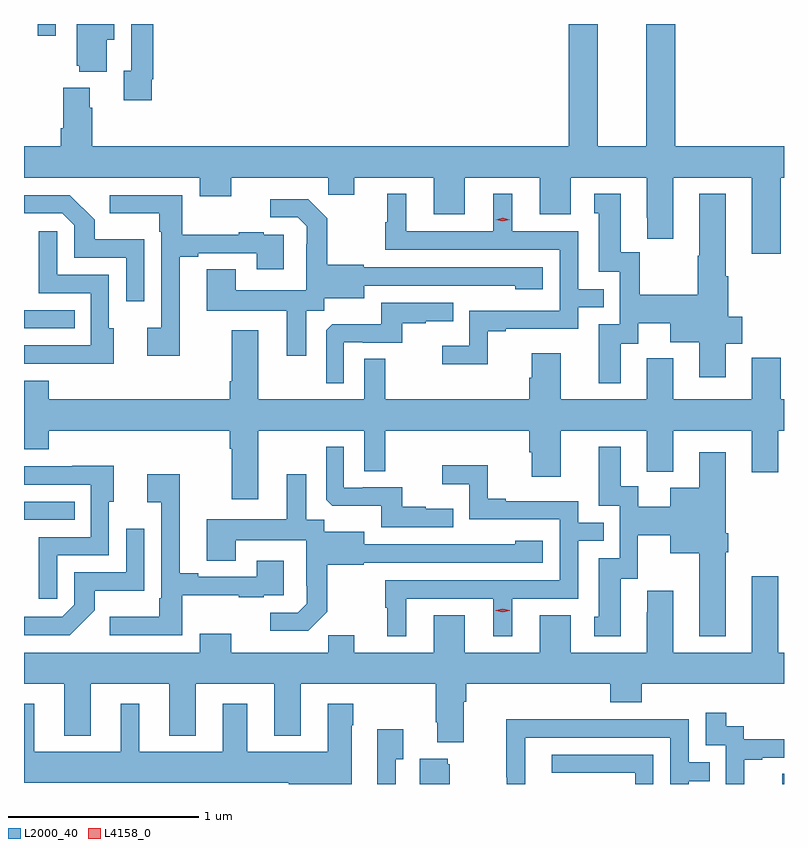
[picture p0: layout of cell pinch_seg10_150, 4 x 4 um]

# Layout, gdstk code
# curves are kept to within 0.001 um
import gdstk
lib = gdstk.Library(unit=1e-6, precision=1e-09)
def R(c, l, rs):  # rectangles x0, y0, x1, y1
    for r in rs: c.add(gdstk.rectangle(r[:2], r[2:], *l))
def P(c, l, *ps):  # polygons
    for p in ps: c.add(gdstk.Polygon(p, *l))
L2000_40 = (2000, 40)
L4158_0 = (4158, 0)

pinch_seg10_150 = lib.new_cell('pinch_seg10_150')
R(pinch_seg10_150, L2000_40, [(764.223,1283.804,764.233,1283.857), (760.233,1285.194,760.499,1285.29), (760.233,1286.202,760.499,1286.298), (760.305,1287.741,760.401,1287.804)])
P(pinch_seg10_150, L2000_40, [(764.216,1286.996),(764.233,1286.996),(764.233,1287.16),(763.661,1287.16),(763.661,1287.804),(763.508,1287.804),(763.508,1287.16),(763.252,1287.16),(763.252,1287.804),(763.1,1287.804),(763.1,1287.16),(760.592,1287.16),(760.592,1287.362),(760.579,1287.362),(760.579,1287.469),(760.439,1287.469),(760.439,1287.256),(760.427,1287.256),(760.427,1287.16),(760.233,1287.16),(760.233,1286.996),(761.159,1286.996),(761.159,1286.897),(761.323,1286.897),(761.323,1286.996),(761.833,1286.996),(761.833,1286.906),(761.971,1286.906),(761.971,1286.996),(762.389,1286.996),(762.389,1286.802),(762.553,1286.802),(762.553,1286.996),(762.947,1286.996),(762.947,1286.802),(763.111,1286.802),(763.111,1286.996),(763.511,1286.996),(763.511,1286.785),(763.514,1286.785),(763.514,1286.673),(763.651,1286.673),(763.651,1286.996),(764.063,1286.996),(764.063,1286.595),(764.216,1286.595)],
  [(760.906,1287.514),(760.913,1287.514),(760.913,1287.804),(760.797,1287.804),(760.797,1287.558),(760.757,1287.558),(760.757,1287.402),(760.906,1287.402)],
  [(760.669,1287.722),(760.708,1287.722),(760.708,1287.804),(760.511,1287.804),(760.511,1287.585),(760.523,1287.585),(760.523,1287.554),(760.669,1287.554)],
  [(763.375,1286.122),(763.465,1286.122),(763.465,1286.228),(763.634,1286.228),(763.634,1286.129),(763.787,1286.129),(763.787,1285.944),(763.927,1285.944),(763.927,1286.122),(764.014,1286.122),(764.014,1286.264),(763.94,1286.264),(763.94,1286.476),(763.927,1286.476),(763.927,1286.911),(763.787,1286.911),(763.787,1286.585),(763.78,1286.585),(763.78,1286.38),(763.473,1286.38),(763.473,1286.603),(763.375,1286.603),(763.375,1286.911),(763.235,1286.911),(763.235,1286.808),(763.259,1286.808),(763.259,1286.499),(763.368,1286.499),(763.368,1286.223),(763.259,1286.223),(763.259,1285.914),(763.375,1285.914)],
  [(762.675,1286.187),(762.769,1286.187),(762.769,1286.199),(763.149,1286.199),(763.149,1286.313),(763.283,1286.313),(763.283,1286.409),(763.149,1286.409),(763.149,1286.712),(762.802,1286.712),(762.802,1286.911),(762.704,1286.911),(762.704,1286.712),(762.244,1286.712),(762.244,1286.911),(762.146,1286.911),(762.146,1286.76),(762.135,1286.76),(762.135,1286.616),(763.053,1286.616),(763.053,1286.295),(762.576,1286.295),(762.576,1286.11),(762.435,1286.11),(762.435,1286.012),(762.675,1286.012)],
  [(761.053,1286.58),(761.149,1286.58),(761.149,1286.598),(761.459,1286.598),(761.459,1286.514),(761.599,1286.514),(761.599,1286.694),(761.495,1286.694),(761.495,1286.707),(761.363,1286.707),(761.363,1286.696),(761.065,1286.696),(761.065,1286.904),(760.683,1286.904),(760.683,1286.807),(760.944,1286.807),(760.944,1286.711),(760.956,1286.711),(760.956,1286.206),(760.881,1286.206),(760.881,1286.058),(761.053,1286.058)],
  [(760.866,1286.671),(760.605,1286.671),(760.605,1286.774),(760.474,1286.904),(760.233,1286.904),(760.233,1286.808),(760.434,1286.808),(760.497,1286.745),(760.497,1286.574),(760.77,1286.574),(760.77,1286.346),(760.866,1286.346)],
  [(761.719,1286.296),(761.814,1286.296),(761.814,1286.36),(762.025,1286.36),(762.025,1286.427),(762.819,1286.426),(762.819,1286.408),(762.964,1286.408),(762.964,1286.523),(762.021,1286.523),(762.021,1286.536),(761.829,1286.536),(761.829,1286.781),(761.729,1286.881),(761.529,1286.881),(761.529,1286.787),(761.673,1286.787),(761.72,1286.74),(761.72,1286.645),(761.718,1286.645),(761.718,1286.404),(761.347,1286.404),(761.347,1286.513),(761.195,1286.513),(761.195,1286.294),(761.615,1286.294),(761.615,1286.058),(761.719,1286.058)],
  [(760.705,1286.202),(760.68,1286.202),(760.68,1286.484),(760.407,1286.484),(760.407,1286.713),(760.311,1286.713),(760.311,1286.388),(760.584,1286.388),(760.584,1286.112),(760.233,1286.112),(760.233,1286.016),(760.487,1286.016),(760.487,1286.015),(760.705,1286.015)],
  [(761.916,1286.13),(762.016,1286.13),(762.016,1286.127),(762.224,1286.127),(762.224,1286.229),(762.347,1286.229),(762.347,1286.24),(762.491,1286.24),(762.491,1286.337),(762.114,1286.337),(762.114,1286.225),(761.855,1286.225),(761.823,1286.193),(761.823,1285.913),(761.916,1285.913)],
  [(761.467,1285.664),(762.024,1285.664),(762.024,1285.45),(762.133,1285.45),(762.133,1285.664),(762.893,1285.664),(762.893,1285.551),(762.905,1285.551),(762.905,1285.422),(763.057,1285.422),(763.057,1285.664),(763.511,1285.664),(763.511,1285.448),(763.651,1285.448),(763.651,1285.664),(764.063,1285.664),(764.063,1285.446),(764.203,1285.446),(764.203,1285.664),(764.233,1285.664),(764.233,1285.828),(764.216,1285.828),(764.216,1286.047),(764.063,1286.047),(764.063,1285.828),(763.651,1285.828),(763.651,1286.044),(763.511,1286.044),(763.511,1285.828),(763.057,1285.828),(763.057,1286.071),(762.905,1286.071),(762.905,1285.941),(762.893,1285.941),(762.893,1285.828),(762.133,1285.828),(762.133,1286.042),(762.024,1286.042),(762.024,1285.828),(761.467,1285.828),(761.467,1286.191),(761.327,1286.191),(761.327,1285.924),(761.315,1285.924),(761.315,1285.828),(760.363,1285.828),(760.363,1285.927),(760.233,1285.927),(760.233,1285.565),(760.363,1285.565),(760.363,1285.664),(761.315,1285.664),(761.315,1285.568),(761.327,1285.568),(761.327,1285.302),(761.467,1285.302)],
  [(762.491,1285.252),(762.347,1285.252),(762.347,1285.264),(762.224,1285.264),(762.224,1285.365),(762.016,1285.365),(762.016,1285.362),(761.916,1285.362),(761.916,1285.579),(761.823,1285.579),(761.823,1285.299),(761.855,1285.268),(762.114,1285.268),(762.114,1285.155),(762.491,1285.155)],
  [(763.927,1285.023),(763.94,1285.023),(763.94,1285.123),(763.927,1285.123),(763.927,1285.549),(763.787,1285.549),(763.787,1285.363),(763.634,1285.363),(763.634,1285.264),(763.465,1285.264),(763.465,1285.37),(763.375,1285.37),(763.375,1285.579),(763.259,1285.579),(763.259,1285.269),(763.368,1285.269),(763.368,1284.993),(763.259,1284.993),(763.259,1284.684),(763.235,1284.684),(763.235,1284.582),(763.375,1284.582),(763.375,1284.885),(763.464,1284.885),(763.464,1285.112),(763.634,1285.112),(763.634,1285.019),(763.787,1285.019),(763.787,1284.581),(763.927,1284.581)],
  [(762.244,1284.78),(762.704,1284.78),(762.704,1284.581),(762.802,1284.581),(762.802,1284.78),(763.149,1284.78),(763.149,1285.083),(763.283,1285.083),(763.283,1285.179),(763.149,1285.179),(763.149,1285.293),(762.769,1285.293),(762.769,1285.306),(762.675,1285.306),(762.675,1285.481),(762.435,1285.481),(762.435,1285.382),(762.576,1285.382),(762.576,1285.197),(763.053,1285.197),(763.053,1284.876),(762.135,1284.876),(762.135,1284.732),(762.146,1284.732),(762.146,1284.581),(762.244,1284.581)],
  [(760.407,1285.008),(760.68,1285.008),(760.68,1285.29),(760.705,1285.29),(760.705,1285.478),(760.487,1285.478),(760.487,1285.476),(760.233,1285.476),(760.233,1285.38),(760.584,1285.38),(760.584,1285.104),(760.311,1285.104),(760.311,1284.78),(760.407,1284.78)],
  [(761.065,1284.797),(761.363,1284.797),(761.363,1284.786),(761.495,1284.786),(761.495,1284.798),(761.599,1284.798),(761.599,1284.979),(761.459,1284.979),(761.459,1284.894),(761.149,1284.894),(761.149,1284.913),(761.053,1284.913),(761.053,1285.435),(760.881,1285.435),(760.881,1285.286),(760.956,1285.286),(760.956,1284.781),(760.944,1284.781),(760.944,1284.685),(760.683,1284.685),(760.683,1284.588),(761.065,1284.588)],
  [(761.829,1284.711),(761.829,1284.957),(762.021,1284.957),(762.021,1284.969),(762.964,1284.969),(762.964,1285.084),(762.819,1285.084),(762.819,1285.066),(762.025,1285.065),(762.025,1285.132),(761.814,1285.132),(761.814,1285.196),(761.719,1285.196),(761.719,1285.435),(761.615,1285.435),(761.615,1285.198),(761.195,1285.198),(761.195,1284.979),(761.347,1284.979),(761.347,1285.088),(761.718,1285.088),(761.718,1284.847),(761.72,1284.847),(761.72,1284.752),(761.673,1284.705),(761.529,1284.705),(761.529,1284.611),(761.729,1284.611)],
  [(760.605,1284.719),(760.605,1284.821),(760.866,1284.821),(760.866,1285.147),(760.77,1285.147),(760.77,1284.918),(760.497,1284.918),(760.497,1284.747),(760.434,1284.684),(760.233,1284.684),(760.233,1284.588),(760.474,1284.588)],
  [(762.547,1284.236),(762.56,1284.236),(762.56,1284.332),(763.319,1284.332),(763.319,1284.233),(763.484,1284.233),(763.484,1284.332),(764.233,1284.332),(764.233,1284.496),(764.203,1284.496),(764.203,1284.898),(764.063,1284.898),(764.063,1284.496),(763.651,1284.496),(763.651,1284.82),(763.512,1284.82),(763.512,1284.707),(763.511,1284.707),(763.511,1284.496),(763.111,1284.496),(763.111,1284.691),(762.947,1284.691),(762.947,1284.496),(762.553,1284.496),(762.553,1284.691),(762.389,1284.691),(762.389,1284.496),(761.971,1284.496),(761.971,1284.587),(761.833,1284.587),(761.833,1284.496),(761.323,1284.496),(761.323,1284.595),(761.159,1284.595),(761.159,1284.496),(760.233,1284.496),(760.233,1284.332),(760.445,1284.332),(760.445,1284.059),(760.585,1284.059),(760.585,1284.332),(760.997,1284.332),(760.997,1284.059),(761.137,1284.059),(761.137,1284.332),(761.549,1284.332),(761.549,1284.059),(761.689,1284.059),(761.689,1284.332),(762.4,1284.332),(762.4,1284.13),(762.407,1284.13),(762.407,1284.023),(762.547,1284.023)],
  [(761.959,1284.113),(761.967,1284.113),(761.967,1284.226),(761.831,1284.226),(761.831,1283.974),(761.407,1283.974),(761.407,1284.226),(761.279,1284.226),(761.279,1283.974),(760.84,1283.974),(760.84,1284.226),(760.742,1284.226),(760.742,1283.974),(760.288,1283.974),(760.288,1284.226),(760.233,1284.226),(760.233,1283.81),(761.627,1283.81),(761.627,1283.804),(761.959,1283.804)],
  [(764.024,1283.931),(764.119,1283.931),(764.119,1283.943),(764.233,1283.943),(764.233,1284.039),(764.022,1284.039),(764.022,1284.108),(763.93,1284.108),(763.93,1284.178),(763.821,1284.178),(763.821,1284.009),(763.926,1284.009),(763.926,1283.804),(764.024,1283.804)],
  [(762.87,1284.048),(763.635,1284.048),(763.635,1283.804),(763.731,1283.804),(763.731,1283.818),(763.841,1283.818),(763.841,1283.919),(763.731,1283.919),(763.731,1284.144),(763.235,1284.144),(763.235,1284.146),(762.772,1284.146),(762.772,1283.839),(762.774,1283.839),(762.774,1283.804),(762.87,1283.804)],
  [(762.189,1283.935),(762.229,1283.935),(762.229,1284.091),(762.092,1284.091),(762.092,1283.804),(762.189,1283.804)],
  [(763.545,1283.958),(763.011,1283.958),(763.011,1283.862),(763.449,1283.862),(763.449,1283.804),(763.545,1283.804)],
  [(762.475,1283.907),(762.464,1283.907),(762.464,1283.938),(762.317,1283.938),(762.317,1283.804),(762.475,1283.804)])
P(pinch_seg10_150, L4158_0, [(762.753,1284.707),(762.717,1284.717),(762.717,1284.717),(762.717,1284.718),(762.753,1284.727),(762.789,1284.718),(762.789,1284.717),(762.789,1284.717)],
  [(762.753,1286.765),(762.717,1286.775),(762.717,1286.775),(762.717,1286.775),(762.753,1286.785),(762.789,1286.775),(762.789,1286.775),(762.789,1286.775)])

lib.write_gds('pinch_seg10_150.gds')
